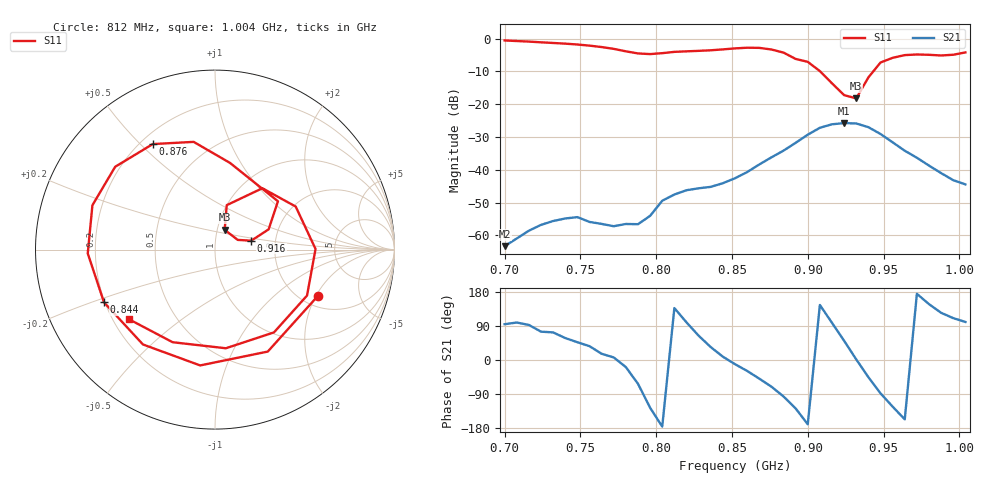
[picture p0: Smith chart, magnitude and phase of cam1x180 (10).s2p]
# Hz S RI R 50
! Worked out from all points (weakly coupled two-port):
!   39 points, 700 MHz to 1.004 GHz, reference 50 ohm
!   highest |S21| = -25.76 dB at 924 MHz (marker M1); lowest = -63.3 dB at 700 MHz (marker M2)
!   lowest |S11| = -18.2 dB at 932 MHz (marker M3), VSWR 1.28, Z = 54.3 + j12.1 ohm
!   |S11| at or under -10 dB: 908.2 MHz to 943.2 MHz (35.04 MHz wide, 3.78 % of centre)
!   S12 and S22 are empty: the file has one direction only
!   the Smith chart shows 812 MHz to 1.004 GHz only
!   S11 on the Smith chart (normalised r, x): 812 MHz: 2.41, -2.07; 844 MHz: 0.20, -0.22; 876 MHz: 0.25, +0.54; 916 MHz: 1.50, +0.16; 1.004 GHz: 0.27, -0.33
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7e8  0.7571 0.5523  -5.25e-05 0.000683  0 0  0 0
7.24e8  0.8418 -0.2488  0.000379 0.00139  0 0  0 0
7.4e8  0.4604 -0.6999  0.000961 0.00153  0 0  0 0
7.56e8  -0.1902 -0.7581  0.00129 0.000954  0 0  0 0
7.72e8  -0.6662 -0.2072  0.00137 0.000162  0 0  0 0
7.8e8  -0.6025 0.215  0.00141 -0.000478  0 0  0 0
7.88e8  -0.2618 0.5335  0.000676 -0.00132  0 0  0 0
7.96e8  0.2246 0.5354  -0.00117 -0.0016  0 0  0 0
8.04e8  0.5672 0.1955  -0.00336 -0.000249  0 0  0 0
8.12e8  0.5712 -0.2602  -0.00307 0.00286  0 0  0 0
8.28e8  -0.0826 -0.6453  0.00228 0.0047  0 0  0 0
8.44e8  -0.6186 -0.2936  0.00617 0.000948  0 0  0 0
8.52e8  -0.7089 -0.0214  0.0073 -0.00143  0 0  0 0
8.76e8  -0.3465 0.588  0.00522 -0.0145  0 0  0 0
9e8  0.3508 0.2692  -0.0337 -0.00617  0 0  0 0
9.08e8  0.2989 0.1129  -0.0359 0.0249  0 0  0 0
9.16e8  0.2019 0.0496  -0.00685 0.0489  0 0  0 0
9.24e8  0.1264 0.0541  0.0327 0.0399  0 0  0 0
9.32e8  0.0539 0.1102  0.0508 0.0013  0 0  0 0
9.56e8  0.4497 0.2398  -0.0143 -0.022  0 0  0 0
9.8e8  0.3288 -0.4612  -0.00976 0.00625  0 0  0 0
1.004e9  -0.4782 -0.3887  -0.00108 0.00589  0 0  0 0
